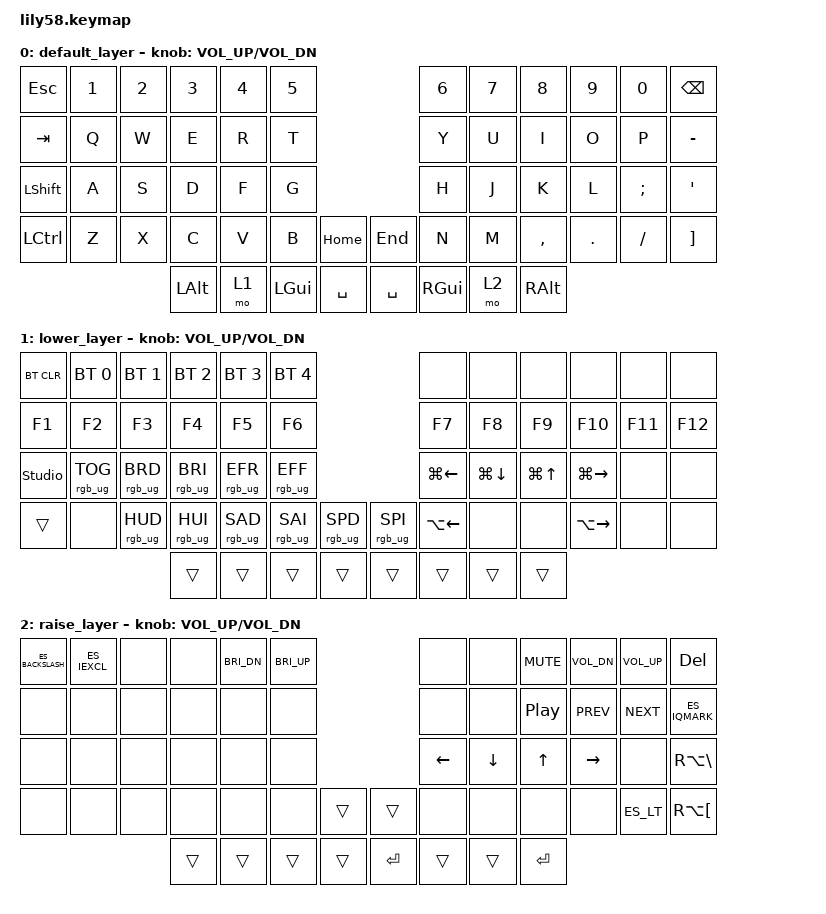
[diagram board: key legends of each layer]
/*
 * Copyright (c) 2020 The ZMK Contributors
 *
 * SPDX-License-Identifier: MIT
 */

#include <behaviors.dtsi>
#include "backlight_chain.dtsi"
#include <dt-bindings/zmk/keys.h>
#include <dt-bindings/zmk/bt.h>
#include <dt-bindings/zmk/ext_power.h>
#include <dt-bindings/zmk/rgb.h>

/*
 * Localized Keys for Spanish
 *
 * This file was generated from data with the following license:
 *
 * UNICODE, INC. LICENSE AGREEMENT - DATA FILES AND SOFTWARE
 * 
 * See Terms of Use <https://www.unicode.org/copyright.html>
 * for definitions of Unicode Inc.’s Data Files and Software.
 * 
 * NOTICE TO USER: Carefully read the following legal agreement.
 * BY DOWNLOADING, INSTALLING, COPYING OR OTHERWISE USING UNICODE INC.'S
 * DATA FILES ("DATA FILES"), AND/OR SOFTWARE ("SOFTWARE"),
 * YOU UNEQUIVOCALLY ACCEPT, AND AGREE TO BE BOUND BY, ALL OF THE
 * TERMS AND CONDITIONS OF THIS AGREEMENT.
 * IF YOU DO NOT AGREE, DO NOT DOWNLOAD, INSTALL, COPY, DISTRIBUTE OR USE
 * THE DATA FILES OR SOFTWARE.
 * 
 * COPYRIGHT AND PERMISSION NOTICE
 * 
 * Copyright © 1991-2023 Unicode, Inc. All rights reserved.
 * Distributed under the Terms of Use in https://www.unicode.org/copyright.html.
 * 
 * Permission is hereby granted, free of charge, to any person obtaining
 * a copy of the Unicode data files and any associated documentation
 * (the "Data Files") or Unicode software and any associated documentation
 * (the "Software") to deal in the Data Files or Software
 * without restriction, including without limitation the rights to use,
 * copy, modify, merge, publish, distribute, and/or sell copies of
 * the Data Files or Software, and to permit persons to whom the Data Files
 * or Software are furnished to do so, provided that either
 * (a) this copyright and permission notice appear with all copies
 * of the Data Files or Software, or
 * (b) this copyright and permission notice appear in associated
 * Documentation.
 * 
 * THE DATA FILES AND SOFTWARE ARE PROVIDED "AS IS", WITHOUT WARRANTY OF
 * ANY KIND, EXPRESS OR IMPLIED, INCLUDING BUT NOT LIMITED TO THE
 * WARRANTIES OF MERCHANTABILITY, FITNESS FOR A PARTICULAR PURPOSE AND
 * NONINFRINGEMENT OF THIRD PARTY RIGHTS.
 * IN NO EVENT SHALL THE COPYRIGHT HOLDER OR HOLDERS INCLUDED IN THIS
 * NOTICE BE LIABLE FOR ANY CLAIM, OR ANY SPECIAL INDIRECT OR CONSEQUENTIAL
 * DAMAGES, OR ANY DAMAGES WHATSOEVER RESULTING FROM LOSS OF USE,
 * DATA OR PROFITS, WHETHER IN AN ACTION OF CONTRACT, NEGLIGENCE OR OTHER
 * TORTIOUS ACTION, ARISING OUT OF OR IN CONNECTION WITH THE USE OR
 * PERFORMANCE OF THE DATA FILES OR SOFTWARE.
 * 
 * Except as contained in this notice, the name of a copyright holder
 * shall not be used in advertising or otherwise to promote the sale,
 * use or other dealings in these Data Files or Software without prior
 * written authorization of the copyright holder.
 */

#pragma once

#include <dt-bindings/zmk/hid_usage.h>
#include <dt-bindings/zmk/hid_usage_pages.h>
#include <dt-bindings/zmk/modifiers.h>

#define ES_ESCAPE_CHARACTER (LC(ZMK_HID_USAGE(HID_USAGE_KEY, HID_USAGE_KEY_KEYBOARD_LEFT_BRACKET_AND_LEFT_BRACE)))

#define ES_FILE_SEPARATOR (LC(ZMK_HID_USAGE(HID_USAGE_KEY, HID_USAGE_KEY_KEYBOARD_BACKSLASH_AND_PIPE)))

#define ES_GROUP_SEPARATOR (LC(ZMK_HID_USAGE(HID_USAGE_KEY, HID_USAGE_KEY_KEYBOARD_RIGHT_BRACKET_AND_RIGHT_BRACE)))

#define ES_SPACE (ZMK_HID_USAGE(HID_USAGE_KEY, HID_USAGE_KEY_KEYBOARD_SPACEBAR))

/* ! */
#define ES_EXCLAMATION (LS(ZMK_HID_USAGE(HID_USAGE_KEY, HID_USAGE_KEY_KEYBOARD_1_AND_EXCLAMATION)))
#define ES_EXCL (ES_EXCLAMATION)

/* " */
#define ES_DOUBLE_QUOTES (LS(ZMK_HID_USAGE(HID_USAGE_KEY, HID_USAGE_KEY_KEYBOARD_2_AND_AT)))
#define ES_DQT (ES_DOUBLE_QUOTES)

/* # */
#define ES_HASH (RA(ZMK_HID_USAGE(HID_USAGE_KEY, HID_USAGE_KEY_KEYBOARD_3_AND_HASH)))
#define ES_POUND (ES_HASH)

/* $ */
#define ES_DOLLAR (LS(ZMK_HID_USAGE(HID_USAGE_KEY, HID_USAGE_KEY_KEYBOARD_4_AND_DOLLAR)))
#define ES_DLLR (ES_DOLLAR)

/* % */
#define ES_PERCENT (LS(ZMK_HID_USAGE(HID_USAGE_KEY, HID_USAGE_KEY_KEYBOARD_5_AND_PERCENT)))
#define ES_PRCNT (ES_PERCENT)

/* & */
#define ES_AMPERSAND (LS(ZMK_HID_USAGE(HID_USAGE_KEY, HID_USAGE_KEY_KEYBOARD_6_AND_CARET)))
#define ES_AMPS (ES_AMPERSAND)

/* ' */
#define ES_SINGLE_QUOTE (ZMK_HID_USAGE(HID_USAGE_KEY, HID_USAGE_KEY_KEYBOARD_MINUS_AND_UNDERSCORE))
#define ES_SQT (ES_SINGLE_QUOTE)
#define ES_APOSTROPHE (ES_SINGLE_QUOTE)
#define ES_APOS (ES_SINGLE_QUOTE)

/* ( */
#define ES_LEFT_PARENTHESIS (LS(ZMK_HID_USAGE(HID_USAGE_KEY, HID_USAGE_KEY_KEYBOARD_8_AND_ASTERISK)))
#define ES_LPAR (ES_LEFT_PARENTHESIS)

/* ) */
#define ES_RIGHT_PARENTHESIS (LS(ZMK_HID_USAGE(HID_USAGE_KEY, HID_USAGE_KEY_KEYBOARD_9_AND_LEFT_PARENTHESIS)))
#define ES_RPAR (ES_RIGHT_PARENTHESIS)

/* * */
#define ES_ASTERISK (LS(ZMK_HID_USAGE(HID_USAGE_KEY, HID_USAGE_KEY_KEYBOARD_RIGHT_BRACKET_AND_RIGHT_BRACE)))
#define ES_ASTRK (ES_ASTERISK)
#define ES_STAR (ES_ASTERISK)

/* + */
#define ES_PLUS (ZMK_HID_USAGE(HID_USAGE_KEY, HID_USAGE_KEY_KEYBOARD_RIGHT_BRACKET_AND_RIGHT_BRACE))

/* , */
#define ES_COMMA (ZMK_HID_USAGE(HID_USAGE_KEY, HID_USAGE_KEY_KEYBOARD_COMMA_AND_LESS_THAN))

/* - */
#define ES_MINUS (ZMK_HID_USAGE(HID_USAGE_KEY, HID_USAGE_KEY_KEYBOARD_SLASH_AND_QUESTION_MARK))

/* . */
#define ES_PERIOD (ZMK_HID_USAGE(HID_USAGE_KEY, HID_USAGE_KEY_KEYBOARD_PERIOD_AND_GREATER_THAN))
#define ES_DOT (ES_PERIOD)

/* / */
#define ES_SLASH (LS(ZMK_HID_USAGE(HID_USAGE_KEY, HID_USAGE_KEY_KEYBOARD_7_AND_AMPERSAND)))
#define ES_FSLH (ES_SLASH)

/* 0 */
#define ES_N0 (ZMK_HID_USAGE(HID_USAGE_KEY, HID_USAGE_KEY_KEYBOARD_0_AND_RIGHT_PARENTHESIS))

/* 1 */
#define ES_N1 (ZMK_HID_USAGE(HID_USAGE_KEY, HID_USAGE_KEY_KEYBOARD_1_AND_EXCLAMATION))

/* 2 */
#define ES_N2 (ZMK_HID_USAGE(HID_USAGE_KEY, HID_USAGE_KEY_KEYBOARD_2_AND_AT))

/* 3 */
#define ES_N3 (ZMK_HID_USAGE(HID_USAGE_KEY, HID_USAGE_KEY_KEYBOARD_3_AND_HASH))

/* 4 */
#define ES_N4 (ZMK_HID_USAGE(HID_USAGE_KEY, HID_USAGE_KEY_KEYBOARD_4_AND_DOLLAR))

/* 5 */
#define ES_N5 (ZMK_HID_USAGE(HID_USAGE_KEY, HID_USAGE_KEY_KEYBOARD_5_AND_PERCENT))

/* 6 */
#define ES_N6 (ZMK_HID_USAGE(HID_USAGE_KEY, HID_USAGE_KEY_KEYBOARD_6_AND_CARET))

/* 7 */
#define ES_N7 (ZMK_HID_USAGE(HID_USAGE_KEY, HID_USAGE_KEY_KEYBOARD_7_AND_AMPERSAND))

/* 8 */
#define ES_N8 (ZMK_HID_USAGE(HID_USAGE_KEY, HID_USAGE_KEY_KEYBOARD_8_AND_ASTERISK))

/* 9 */
#define ES_N9 (ZMK_HID_USAGE(HID_USAGE_KEY, HID_USAGE_KEY_KEYBOARD_9_AND_LEFT_PARENTHESIS))

/* : */
#define ES_COLON (LS(ZMK_HID_USAGE(HID_USAGE_KEY, HID_USAGE_KEY_KEYBOARD_PERIOD_AND_GREATER_THAN)))

/* ; */
#define ES_SEMICOLON (LS(ZMK_HID_USAGE(HID_USAGE_KEY, HID_USAGE_KEY_KEYBOARD_COMMA_AND_LESS_THAN)))
#define ES_SEMI (ES_SEMICOLON)

/* < */
#define ES_LESS_THAN (ZMK_HID_USAGE(HID_USAGE_KEY, HID_USAGE_KEY_KEYBOARD_NON_US_BACKSLASH_AND_PIPE))
#define ES_LT (ES_LESS_THAN)

/* = */
#define ES_EQUAL (LS(ZMK_HID_USAGE(HID_USAGE_KEY, HID_USAGE_KEY_KEYBOARD_0_AND_RIGHT_PARENTHESIS)))

/* > */
#define ES_GREATER_THAN (LS(ZMK_HID_USAGE(HID_USAGE_KEY, HID_USAGE_KEY_KEYBOARD_NON_US_BACKSLASH_AND_PIPE)))
#define ES_GT (ES_GREATER_THAN)

/* ? */
#define ES_QUESTION (LS(ZMK_HID_USAGE(HID_USAGE_KEY, HID_USAGE_KEY_KEYBOARD_MINUS_AND_UNDERSCORE)))
#define ES_QMARK (ES_QUESTION)

/* @ */
#define ES_AT_SIGN (RA(ZMK_HID_USAGE(HID_USAGE_KEY, HID_USAGE_KEY_KEYBOARD_2_AND_AT)))
#define ES_AT (ES_AT_SIGN)

/* [ */
#define ES_LEFT_BRACKET (RA(ZMK_HID_USAGE(HID_USAGE_KEY, HID_USAGE_KEY_KEYBOARD_LEFT_BRACKET_AND_LEFT_BRACE)))
#define ES_LBKT (ES_LEFT_BRACKET)

/* \ */
#define ES_BACKSLASH (RA(ZMK_HID_USAGE(HID_USAGE_KEY, HID_USAGE_KEY_KEYBOARD_GRAVE_ACCENT_AND_TILDE)))
#define ES_BSLH (ES_BACKSLASH)

/* ] */
#define ES_RIGHT_BRACKET (RA(ZMK_HID_USAGE(HID_USAGE_KEY, HID_USAGE_KEY_KEYBOARD_RIGHT_BRACKET_AND_RIGHT_BRACE)))
#define ES_RBKT (ES_RIGHT_BRACKET)

/* ^ */
#define ES_CARET (LS(ZMK_HID_USAGE(HID_USAGE_KEY, HID_USAGE_KEY_KEYBOARD_LEFT_BRACKET_AND_LEFT_BRACE)))

/* _ */
#define ES_UNDERSCORE (LS(ZMK_HID_USAGE(HID_USAGE_KEY, HID_USAGE_KEY_KEYBOARD_SLASH_AND_QUESTION_MARK)))
#define ES_UNDER (ES_UNDERSCORE)

/* ` */
#define ES_GRAVE (ZMK_HID_USAGE(HID_USAGE_KEY, HID_USAGE_KEY_KEYBOARD_LEFT_BRACKET_AND_LEFT_BRACE))

/* a */
#define ES_A (ZMK_HID_USAGE(HID_USAGE_KEY, HID_USAGE_KEY_KEYBOARD_A))

/* b */
#define ES_B (ZMK_HID_USAGE(HID_USAGE_KEY, HID_USAGE_KEY_KEYBOARD_B))

/* c */
#define ES_C (ZMK_HID_USAGE(HID_USAGE_KEY, HID_USAGE_KEY_KEYBOARD_C))

/* d */
#define ES_D (ZMK_HID_USAGE(HID_USAGE_KEY, HID_USAGE_KEY_KEYBOARD_D))

/* e */
#define ES_E (ZMK_HID_USAGE(HID_USAGE_KEY, HID_USAGE_KEY_KEYBOARD_E))

/* f */
#define ES_F (ZMK_HID_USAGE(HID_USAGE_KEY, HID_USAGE_KEY_KEYBOARD_F))

/* g */
#define ES_G (ZMK_HID_USAGE(HID_USAGE_KEY, HID_USAGE_KEY_KEYBOARD_G))

/* h */
#define ES_H (ZMK_HID_USAGE(HID_USAGE_KEY, HID_USAGE_KEY_KEYBOARD_H))

/* i */
#define ES_I (ZMK_HID_USAGE(HID_USAGE_KEY, HID_USAGE_KEY_KEYBOARD_I))

/* j */
#define ES_J (ZMK_HID_USAGE(HID_USAGE_KEY, HID_USAGE_KEY_KEYBOARD_J))

/* k */
#define ES_K (ZMK_HID_USAGE(HID_USAGE_KEY, HID_USAGE_KEY_KEYBOARD_K))

/* l */
#define ES_L (ZMK_HID_USAGE(HID_USAGE_KEY, HID_USAGE_KEY_KEYBOARD_L))

/* m */
#define ES_M (ZMK_HID_USAGE(HID_USAGE_KEY, HID_USAGE_KEY_KEYBOARD_M))

/* n */
#define ES_N (ZMK_HID_USAGE(HID_USAGE_KEY, HID_USAGE_KEY_KEYBOARD_N))

/* o */
#define ES_O (ZMK_HID_USAGE(HID_USAGE_KEY, HID_USAGE_KEY_KEYBOARD_O))

/* p */
#define ES_P (ZMK_HID_USAGE(HID_USAGE_KEY, HID_USAGE_KEY_KEYBOARD_P))

/* q */
#define ES_Q (ZMK_HID_USAGE(HID_USAGE_KEY, HID_USAGE_KEY_KEYBOARD_Q))

/* r */
#define ES_R (ZMK_HID_USAGE(HID_USAGE_KEY, HID_USAGE_KEY_KEYBOARD_R))

/* s */
#define ES_S (ZMK_HID_USAGE(HID_USAGE_KEY, HID_USAGE_KEY_KEYBOARD_S))

/* t */
#define ES_T (ZMK_HID_USAGE(HID_USAGE_KEY, HID_USAGE_KEY_KEYBOARD_T))

/* u */
#define ES_U (ZMK_HID_USAGE(HID_USAGE_KEY, HID_USAGE_KEY_KEYBOARD_U))

/* v */
#define ES_V (ZMK_HID_USAGE(HID_USAGE_KEY, HID_USAGE_KEY_KEYBOARD_V))

/* w */
#define ES_W (ZMK_HID_USAGE(HID_USAGE_KEY, HID_USAGE_KEY_KEYBOARD_W))

/* x */
#define ES_X (ZMK_HID_USAGE(HID_USAGE_KEY, HID_USAGE_KEY_KEYBOARD_X))

/* y */
#define ES_Y (ZMK_HID_USAGE(HID_USAGE_KEY, HID_USAGE_KEY_KEYBOARD_Y))

/* z */
#define ES_Z (ZMK_HID_USAGE(HID_USAGE_KEY, HID_USAGE_KEY_KEYBOARD_Z))

/* { */
#define ES_LEFT_BRACE (RA(ZMK_HID_USAGE(HID_USAGE_KEY, HID_USAGE_KEY_KEYBOARD_APOSTROPHE_AND_QUOTE)))
#define ES_LBRC (ES_LEFT_BRACE)

/* | */
#define ES_PIPE (RA(ZMK_HID_USAGE(HID_USAGE_KEY, HID_USAGE_KEY_KEYBOARD_1_AND_EXCLAMATION)))

/* } */
#define ES_RIGHT_BRACE (RA(ZMK_HID_USAGE(HID_USAGE_KEY, HID_USAGE_KEY_KEYBOARD_BACKSLASH_AND_PIPE)))
#define ES_RBRC (ES_RIGHT_BRACE)

/* ~ */
#define ES_TILDE (RA(ZMK_HID_USAGE(HID_USAGE_KEY, HID_USAGE_KEY_KEYBOARD_4_AND_DOLLAR)))

/* ¡ */
#define ES_INVERTED_EXCLAMATION (ZMK_HID_USAGE(HID_USAGE_KEY, HID_USAGE_KEY_KEYBOARD_EQUAL_AND_PLUS))
#define ES_IEXCL (ES_INVERTED_EXCLAMATION)

/* ¨ */
#define ES_UMLAUT (LS(ZMK_HID_USAGE(HID_USAGE_KEY, HID_USAGE_KEY_KEYBOARD_APOSTROPHE_AND_QUOTE)))

/* ª */
#define ES_FEMININE_ORDINAL_INDICATOR (LS(ZMK_HID_USAGE(HID_USAGE_KEY, HID_USAGE_KEY_KEYBOARD_GRAVE_ACCENT_AND_TILDE)))
#define ES_ORDF (ES_FEMININE_ORDINAL_INDICATOR)

/* ¬ */
#define ES_NOT (RA(ZMK_HID_USAGE(HID_USAGE_KEY, HID_USAGE_KEY_KEYBOARD_6_AND_CARET)))

/* ´ */
#define ES_ACUTE (ZMK_HID_USAGE(HID_USAGE_KEY, HID_USAGE_KEY_KEYBOARD_APOSTROPHE_AND_QUOTE))

/* · */
#define ES_MIDDLE_DOT (LS(ZMK_HID_USAGE(HID_USAGE_KEY, HID_USAGE_KEY_KEYBOARD_3_AND_HASH)))
#define ES_MIDDOT (ES_MIDDLE_DOT)

/* º */
#define ES_MASCULINE_ORDINAL_INDICATOR (ZMK_HID_USAGE(HID_USAGE_KEY, HID_USAGE_KEY_KEYBOARD_GRAVE_ACCENT_AND_TILDE))
#define ES_ORDM (ES_MASCULINE_ORDINAL_INDICATOR)

/* ¿ */
#define ES_INVERTED_QUESTION (LS(ZMK_HID_USAGE(HID_USAGE_KEY, HID_USAGE_KEY_KEYBOARD_EQUAL_AND_PLUS)))
#define ES_IQMARK (ES_INVERTED_QUESTION)

/* ç */
#define ES_C_CEDILLA (ZMK_HID_USAGE(HID_USAGE_KEY, HID_USAGE_KEY_KEYBOARD_BACKSLASH_AND_PIPE))

/* ñ */
#define ES_N_TILDE (ZMK_HID_USAGE(HID_USAGE_KEY, HID_USAGE_KEY_KEYBOARD_SEMICOLON_AND_COLON))

/* € */
#define ES_EURO (RA(ZMK_HID_USAGE(HID_USAGE_KEY, HID_USAGE_KEY_KEYBOARD_5_AND_PERCENT)))

/ {
    keymap {
        compatible = "zmk,keymap";

        default_layer {
// -------------------------------------------------------------------------------------------------------------
// | ESC  |  1  |  2  |  3   |  4    |  5   |                   |  6   |  7    |  8    |  9   |   0   |   BKPC |
// | TAB  |  Q  |  W  |  E   |  R    |  T   |                   |  Y   |  U    |  I    |  O   |   P   |   -    |
// | SHFT |  A  |  S  |  D   |  F    |  G   |                   |  H   |  J    |  K    |  L   |   ;   |   '    |
// | LCTL |  Z  |  X  |  C   |  V    |  B   |  HOME  |  |  END  |  N   |  M    |  ,    |  .   |   /   | SHIFT  |
//                    | GUI  | LOWER | LALT |  SPACE |  | SPACE | RGUI | RAISE | RALT  |
            bindings = <
&kp ESC   &kp N1 &kp N2 &kp N3   &kp N4   &kp N5                         &kp N6   &kp N7  &kp N8    &kp N9  &kp N0   &kp BSPC
&kp TAB   &kp Q  &kp W  &kp E    &kp R    &kp T                          &kp Y    &kp U   &kp I     &kp O   &kp P    &kp MINUS
&kp LSHFT &kp A  &kp S  &kp D    &kp F    &kp G                          &kp H    &kp J   &kp K     &kp L   &kp SEMI &kp SQT
&kp LCTRL &kp Z  &kp X  &kp C    &kp V    &kp B     &kp HOME   &kp END   &kp N    &kp M   &kp COMMA &kp DOT &kp FSLH &kp RBKT
                        &kp LALT &mo 1    &kp LGUI  &kp SPACE  &kp SPACE &kp RGUI &mo 2   &kp RALT
            >;

            sensor-bindings = <&inc_dec_kp C_VOL_UP C_VOL_DN>;
        };

        lower_layer {
// ------------------------------------------------------------------------------------------------------------
// | BTCLR | BT1 | BT2 |  BT3 |  BT4 |  BT5 |                    |      |      |      |      |     |     |
// |  F1   | F2  | F3  |  F4  |  F5  |  F6  |                    |  F7  |  F8  |  F9  |  F10 | F11 | F12 |
// | RGBTOG| RGB- | RGB+| PREV | NEXT |      |                   | CmdL | CmdD | CmdU | CmdR |     |     |
// |       | HUE- | HUE+ | SAT- | SAT+ | SPD- |        |  | SPD+ | OptL |      |      | OptR |     |     |
//                       |      |      |      |        |  |      |      |      |      |
            bindings = <
&bt BT_CLR       &bt BT_SEL 0     &bt BT_SEL 1    &bt BT_SEL 2    &bt BT_SEL 3    &bt BT_SEL 4                                    &none        &none        &none      &none          &none   &none
&kp F1           &kp F2           &kp F3          &kp F4          &kp F5          &kp F6                                          &kp F7       &kp F8       &kp F9     &kp F10        &kp F11 &kp F12
&studio_unlock   &rgb_ug RGB_TOG  &rgb_ug RGB_BRD &rgb_ug RGB_BRI &rgb_ug RGB_EFR &rgb_ug RGB_EFF                                 &kp LG(LEFT) &kp LG(DOWN) &kp LG(UP) &kp LG(RIGHT)  &none   &none
&trans           &none            &rgb_ug RGB_HUD &rgb_ug RGB_HUI &rgb_ug RGB_SAD &rgb_ug RGB_SAI &rgb_ug RGB_SPD &rgb_ug RGB_SPI &kp LA(LEFT) &none        &none      &kp LA(RIGHT)  &none   &none 
                        	                        &trans          &trans          &trans          &trans          &trans          &trans       &trans       &trans
            >;

            sensor-bindings = <&inc_dec_kp C_VOL_UP C_VOL_DN>;
        };

        raise_layer {
// ------------------------------------------------------------------------------------------------------------
// |       |  !  |     |      |      |      |                   |      |       |       |      |       |   DEL  |
// |       |     |     |      |      |      |                   |      |       |       |      |       |   ?    |
// |       |     |     |      |      |      |                   | CmdL | CmdD  | CmdU  | CmdR |       |   }    |
// |       |     |     |      |      |      |        |  |       | OptL |       |       | OptR |   <   |   [    |
            bindings = <
&kp ES_BACKSLASH &kp ES_IEXCL &none   &none   &kp C_BRI_DN &kp C_BRI_UP           &none    &none    &kp C_MUTE &kp C_VOL_DN &kp C_VOL_UP &kp DEL
&none            &none        &none   &none   &none        &none                  &none    &none    &kp C_PP   &kp C_PREV   &kp C_NEXT   &kp ES_IQMARK
&none            &none        &none   &none   &none        &none                  &kp LEFT &kp DOWN &kp UP     &kp RIGHT    &none        &kp RA(BSLH)
&none            &none        &none   &none   &none        &none         &trans   &trans   &none    &none      &none        &none        &kp ES_LT    &kp RA(LBKT)
                                      &trans  &trans       &trans        &trans   &kp RET  &trans   &trans     &kp RET
            >;

            sensor-bindings = <&inc_dec_kp C_VOL_UP C_VOL_DN>;
        };
    };
};
